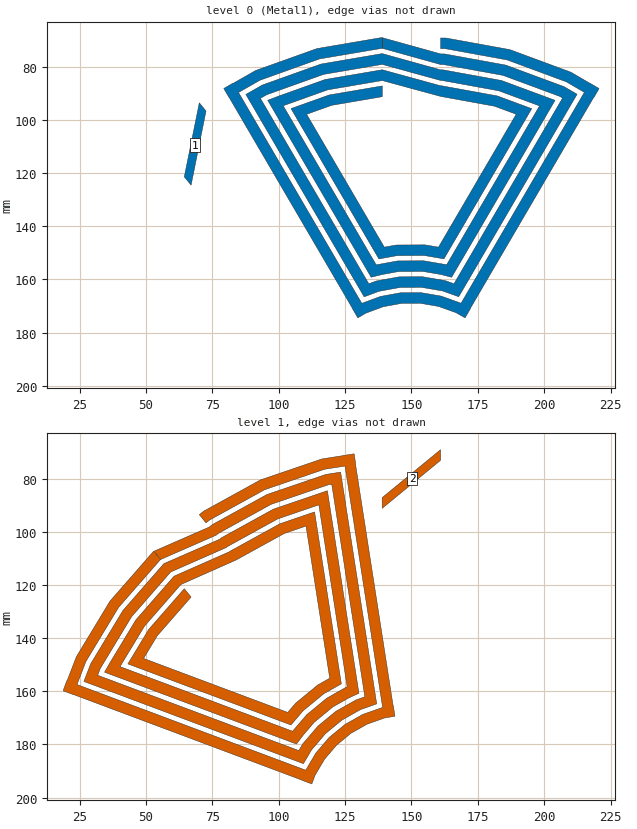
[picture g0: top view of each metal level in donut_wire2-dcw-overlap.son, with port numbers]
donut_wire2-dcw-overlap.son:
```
FTYP SONPROJ 18 ! Sonnet Project File
VER 17.56
HEADER
LIC Sonn.1.12345 5ebde752e8e3 LAPTOP-O1OQGKBH User FullLicense
DAT 12/26/2023 21:45:43
BUILT_BY_CREATED xgeom 17.56 09/11/2023 21:14:34
BUILT_BY_SAVED sonnet 17.56
MDATE 12/26/2023 21:36:34
HDATE 12/26/2023 21:36:34
END HEADER
DIM
ANG DEG
CAP PF
CON /OH
FREQ MHZ
IND NH
LNG MM
RES OH
END DIM
CONTROL
VARSWP
OPTIONS  -d
SPEED 2
CACHE_ABS 1
Q_ACC N
END CONTROL
GEO
TMET "Free Space" 0 FREESPACE 376.7303136 0 0 0
BMET "Free Space" 0 FREESPACE 376.7303136 0 0 0
BOX 2 300 300 600 600 20 0
      16 1 1 0 0 0 0 "Air"
      1.6 4.4 1 0.02 0 0 0 "FR4"
      16 1 1 0 0 0 0 "Air"
TECHLAY METAL Metal1 <UNSPECIFIED> -2 -65534 
0 0 -1 N 693 1 1 100 100 0 0 0 Y
END
END
LORGN 0 300 U 
EVIA1
POLY 631 1
52
TOLEVEL 1
EVIA1
POLY 683 1
2
TOLEVEL 1
EVIA1
POLY 684 1
0
TOLEVEL 1
EVIA1
POLY 622 1
19
TOLEVEL 1
POR1 GAP
POLY 684 1
2
1 50 0 0 0 68.4508043 109.4 
POR1 GAP
POLY 672 1
2
2 50 0 0 0 150.3249989 79.73391 
NUM 8
0 101 -1 T 631 1 1 100 100 0 0 0 Y
TLAYNAM Metal1 NOH
135.9918089 165.1346848
137.8046154 164.4636397
145.7235371 163.0226715
153.7723741 162.9787013
161.7065664 164.3330649
163.9702702 165.1430087
167.802104 166.5140231
169.8560197 163.0005782
210.3669071 93.70232471
212.3856303 90.24908053
208.9324581 88.23017224
207.5144 87.4011
185.5256 79.2615
162.4574 75.0639
161 75.05593753
139 68.93572887
139 72.93573693
161 79.05606771
162.0856 79.062
184.4652 83.1343
205.7976 91.0309
206.9137262 91.68343815
166.0241825 161.6295626
162.7245942 160.4489835
154.1004721 158.9768492
145.3517363 159.024643
136.7442127 160.5909127
133.9419714 161.6282161
93.11413097 91.7877804
95.4988 90.4283
116.9162 82.7652
139 78.9955494
161 85.0561168
161.5279 85.059
182.8746 88.9434
198.2404246 94.63133323
163.2682532 154.4550139
154.5925287 152.9740711
144.7939446 153.0276001
136.7227995 154.4962676
101.69805 94.58276515
118.4432 88.5914
139 85.08236821
161 91.06142256
181.284 94.7524
189.4520859 97.77597498
160.1842555 147.8418047
155.0845854 146.971293
144.236153 147.0305573
139.782217 147.8410186
110.5267156 97.79637801
119.9703 94.4175
139 91.16916764
139 87.11126329
118.9523 90.5334
108.4727879 94.28291671
104.6409401 95.65393257
106.6948666 99.16739877
135.5943151 148.603071
137.7425438 152.2778515
141.9304496 151.5157984
144.6079538 151.0285858
154.7564874 150.9731451
158.0273223 151.5314753
162.2402411 152.250619
164.3971782 148.560949
193.2611922 99.18598933
195.3110001 95.67957529
191.5018958 94.26955065
182.3444 90.8797
161.342 87.058
161 87.05613194
139 81.02446255
117.4252 84.7073
99.64413207 91.06932342
95.86121847 92.52390523
97.88004319 95.9773369
132.7716869 155.6635028
134.8215177 159.169974
138.8710336 158.1710472
145.1657455 157.0256287
154.2644307 156.9759232
161.1113184 158.1446843
165.1351843 159.1873513
167.1890967 155.6739052
202.0494844 96.04132443
204.0993438 92.5348114
200.2902892 91.12481817
183.935 85.0706
161.8997 81.061
161.5279 81.05896808
161 81.05608306
139 74.9376436
115.8982 78.8812
93.8218 86.78
91.09529418 88.33434178
87.62006081 90.31552237
89.6389071 93.76897725
130.1328453 163.0382372
132.1826829 166.5447059
135.9918089 165.1346848
END
0 5 -1 T 683 1 1 100 100 0 0 0 Y
TLAYNAM Metal1 NOH
70.03878487 109.4
66.86282373 109.4
64.4387 121.35306
67.00122 124.4995
70.03878487 109.4
END
0 5 -1 T 684 1 1 100 100 0 0 0 Y
TLAYNAM Metal1 NOH
72.6214 96.56202
70.09542 93.46046
66.86282373 109.4
70.03878487 109.4
72.6214 96.56202
END
0 52 -1 T 622 1 1 100 100 0 0 0 Y
132.8314891 172.7024544
139.3953099 170.2727301
146.2813288 169.0197144
153.2803174 168.9814794
160.1796151 170.1591868
166.7695903 172.5170528
170.1894826 174.4666967
172.2084972 171.0133663
172.1435262 170.9763271
218.5746251 91.55084659
218.6445 91.5917
220.6634 88.1385
220.5933724 88.09755816
220.61375 88.0627
217.16055 86.044
217.1402693 86.07869234
210.0896 81.9565
187.1162 73.4524
163.0151 69.0669
161 69.05589347
161 73.05592267
162.6433 73.0649
186.0558 77.3252
208.3728 85.5862
215.1215371 89.53194807
168.6683013 168.9951387
168.4466156 168.868758
161.1976429 166.2751055
153.6084154 164.9796273
145.9095279 165.0216858
138.3349072 166.4000032
131.3031969 169.0029257
84.87306849 89.57941988
92.9832 84.9559
115.3892 76.9391
139 72.93573693
139 68.93572887
138.8468 68.93489209
138.5187 68.9331
114.3711 73.055
91.3062 81.3076
82.85421229 86.12595889
82.8063 86.044
79.3531 88.0627
79.37905418 88.10709747
79.3366 88.1313
81.3556 91.5847
81.39791348 91.56057743
127.8323433 170.9917559
127.7915028 171.0156336
129.8103969 174.4687578
132.8314891 172.7024544
END
1 101 -1 T 649 1 1 100 100 0 0 0 Y
111.37706 183.75094
112.35892 182.08586
117.58918 175.96784
123.80238 170.851
130.8097 166.8908
133.0764 166.08932
136.91334 164.73264
136.28722 160.71134
123.93774 81.39632
123.32234 77.44392
119.3699 78.05914
117.7468 78.31178
95.55694 85.8861
75.01946 97.19864
73.88438 98.1128
52.96106 107.26002
55.48702 110.36156
76.41042 101.21444
77.25592 100.5335
97.18036 89.55866
118.7078 82.2104
119.9853 82.01156
132.45028 162.06802
129.1463 163.23628
121.52966 167.54084
114.77618 173.10262
109.09112 179.75262
107.57334 182.32652
31.81262 153.95556
32.80316 151.39554
44.57076 131.92884
59.31372 115.06026
80.19938 105.8668
80.61052 105.53566
99.6154 95.06738
115.1217 89.7744
125.78274 158.24532
118.1205 162.57564
110.55662 168.80484
105.22582 175.04044
40.23348 150.7021
49.43394 135.48212
63.15748 119.7799
83.99166 110.52322
102.05038 100.57604
110.29316 97.76244
119.21528 155.06504
114.71136 157.61044
106.33706 164.50706
103.39534 167.94808
49.10844 147.6187
54.29714 139.03524
67.00122 124.4995
64.4387 121.35306
51.05504 136.66642
45.29716 146.19144
43.19178 149.67426
47.00308 151.10152
100.62932 171.18358
104.61562 172.67636
107.38162 169.44086
109.15006 167.37228
116.98408 160.92062
119.8728 159.28804
123.59358 157.18524
122.93606 152.96224
114.13708 96.45034
113.51222 92.43708
109.66828 93.74918
100.42704 96.90358
81.72872 107.20306
81.46236 107.41758
60.59496 116.63344
46.19184 133.1133
36.4222 149.27486
34.40754 152.79158
38.1537 154.19446
102.89928 178.44058
106.70298 179.86502
109.21212 176.53324
113.36962 171.67006
120.39322 165.8858
126.44026 162.46832
130.21874 160.73576
129.59262 156.71446
118.96558 88.4623
118.3407 84.44894
114.49682 85.76102
97.992 91.39484
78.37412 102.2009
78.08456 102.4341
77.6734 102.76522
56.7512 111.91382
41.3287 129.5601
29.19898 149.6257
28.06644 152.55268
26.62288 156.28342
30.36908 157.6863
105.51022 185.82524
109.31392 187.24966
111.37706 183.75094
END
1 52 -1 T 650 1 1 100 100 0 0 0 Y
113.70554 191.61458
117.2607 185.58564
121.80876 180.26562
127.21152 175.8162
133.30484 172.37254
139.90358 170.03932
143.7865 169.39142
143.17128 165.43878
143.0975 165.45108
128.94326 74.54502
129.02324 74.53258
128.408 70.5801
128.32786 70.59258
128.32164 70.55268
124.3693 71.16806
124.37548 71.20778
116.30538 72.4639
93.1219 80.37738
71.66486 92.19648
70.09542 93.46046
72.6214 96.56202
73.90126 95.53126
94.7453 84.04992
117.2663 76.36246
124.99088 75.16018
139.15176 166.10946
138.90006 166.15146
131.64146 168.71802
124.9388 172.50602
118.99576 177.4004
113.9929 183.2524
110.18432 189.71112
24.02808 157.44736
27.39686 148.7409
39.70762 128.37566
55.48702 110.36156
52.96106 107.26002
52.84174 107.35612
52.58622 107.56192
36.46544 126.0069
23.79268 146.97106
20.28186 156.04448
20.19296 156.01118
18.79018 159.7571
18.83834 159.77514
18.8207 159.82072
22.56698 161.22346
22.58456 161.17804
108.749 193.44504
108.7324 193.48934
112.47844 194.89192
113.70554 191.61458
END
1 5 -1 T 672 1 1 100 100 0 0 0 Y
160.96632 72.98983267
160.96632 68.98980347
147.8749048 79.73391
152.775093 79.73391
160.96632 72.98983267
END
1 5 -1 T 674 1 1 100 100 0 0 0 Y
152.775093 79.73391
147.8749048 79.73391
138.96632 87.04517329
138.96632 91.1030776
152.775093 79.73391
END
END GEO
OPT
MAX 100
END OPT
VARSWP
ENABLED Y
FREQ N AY ABS_ENTRY UNK 
FREQ N AN SWEEP 13.5 13.6 0.01
FREQ Y AN STEP 13.56
END
END VARSWP
FILEOUT
TOUCH D Y $BASENAME.s2p IC 15 S RI R 50.00000
FOLDER sondata
END FILEOUT
TRANSLATOR
DXFEXPORT
UseTLs true
SepObj true
SepMat true
DivideMulti false
Circles true
CircleType manual
CircleSize 10
KeepMetals true
KeepVias true
KeepViaPads true
KeepBricks true
KeepEdgeVias true
KeepParent true
ConvertParent false
AllEdgeViasAsVia false
END
END TRANSLATOR
```
